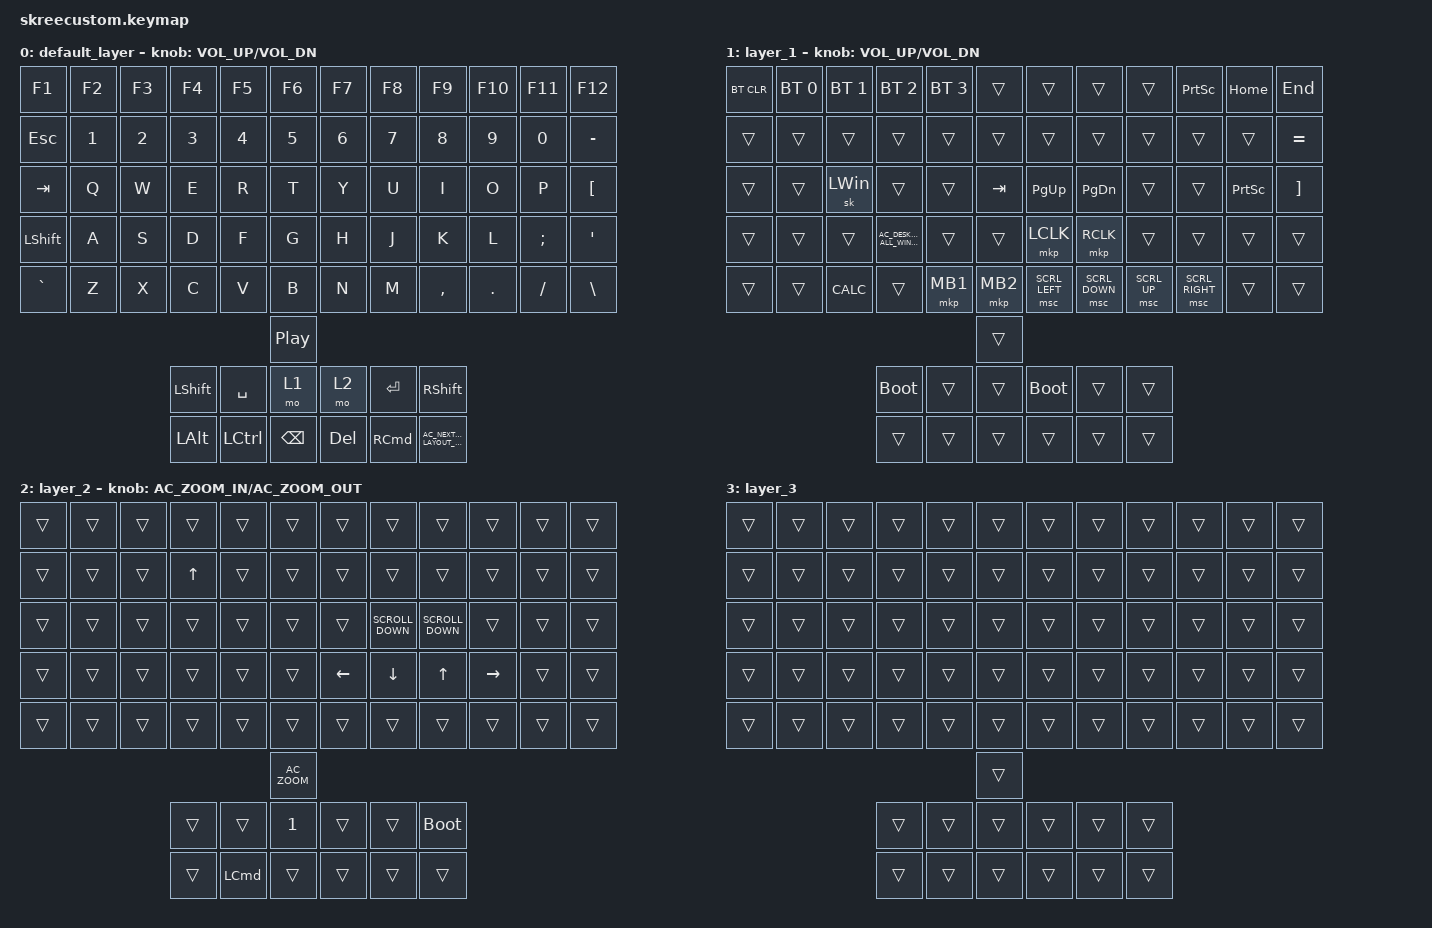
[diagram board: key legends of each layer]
/*
 * Copyright (c) 2020 The ZMK Contributors
 *
 * SPDX-License-Identifier: MIT
 */

#include <input/processors.dtsi>
#include <dt-bindings/zmk/input_transform.h>
#include <behaviors.dtsi>
#include <dt-bindings/zmk/bt.h>
#include <dt-bindings/zmk/keys.h>
#include <dt-bindings/zmk/pointing.h>

/ {
    combos {
        compatible = "zmk,combos";

        Sel_Bluetooth_Profile_Next {
            bindings = <&bt BT_NXT>;
            key-positions = <36 53 54>;
        };
    };

    keymap {
        compatible = "zmk,keymap";

        default_layer {
            bindings = <
&kp F1     &kp F2  &kp F3  &kp F4     &kp F5            &kp F6              &kp F7   &kp F8             &kp F9         &kp F10  &kp F11   &kp F12
&kp ESC    &kp N1  &kp N2  &kp N3     &kp N4            &kp N5              &kp N6   &kp N7             &kp N8         &kp N9   &kp N0    &kp MINUS
&kp TAB    &kp Q   &kp W   &kp E      &kp R             &kp T               &kp Y    &kp U              &kp I          &kp O    &kp P     &kp LBKT
&kp LSHFT  &kp A   &kp S   &kp D      &kp F             &kp G               &kp H    &kp J              &kp K          &kp L    &kp SEMI  &kp SQT
&kp GRAVE  &kp Z   &kp X   &kp C      &kp V             &kp B               &kp N    &kp M              &kp COMMA      &kp DOT  &kp FSLH  &kp BSLH
                                                        &kp C_PLAY_PAUSE
                           &kp LSHFT  &kp SPACE         &mo 1               &mo 2    &kp RET            &kp RSHFT
                           &kp LALT   &kp LEFT_CONTROL  &kp BACKSPACE       &kp DEL  &kp RIGHT_COMMAND  &kp C_AC_NEXT_KEYBOARD_LAYOUT_SELECT
            >;

            sensor-bindings = <&inc_dec_kp C_VOL_UP C_VOL_DN>;
        };

        layer_1 {
            bindings = <
&bt BT_CLR  &bt BT_SEL 0  &bt BT_SEL 1  &bt BT_SEL 2                       &bt BT_SEL 3  &trans      &trans          &trans          &trans         &kp PRINTSCREEN  &kp HOME         &kp END
&trans      &trans        &trans        &trans                             &trans        &trans      &trans          &trans          &trans         &trans           &trans           &kp EQUAL
&trans      &trans        &sk LWIN      &trans                             &trans        &kp TAB     &kp PAGE_UP     &kp PAGE_DOWN   &trans         &trans           &kp PRINTSCREEN  &kp RIGHT_BRACKET
&trans      &trans        &trans        &kp C_AC_DESKTOP_SHOW_ALL_WINDOWS  &trans        &trans      &mkp LCLK       &mkp RCLK       &trans         &trans           &trans           &trans
&trans      &trans        &kp K_CALC    &trans                             &mkp MB1      &mkp MB2    &msc SCRL_LEFT  &msc SCRL_DOWN  &msc SCRL_UP   &msc SCRL_RIGHT  &trans           &trans
                                                                                         &trans
                                        &bootloader                        &trans        &trans      &bootloader     &trans          &trans
                                        &trans                             &trans        &trans      &trans          &trans          &trans
            >;

            sensor-bindings = <&inc_dec_kp C_VOL_UP C_VOL_DN>;
        };

        layer_2 {
            bindings = <
&trans  &trans  &trans  &trans        &trans  &trans           &trans    &trans             &trans             &trans     &trans  &trans
&trans  &trans  &trans  &kp UP_ARROW  &trans  &trans           &trans    &trans             &trans             &trans     &trans  &trans
&trans  &trans  &trans  &trans        &trans  &trans           &trans    &kp K_SCROLL_DOWN  &kp K_SCROLL_DOWN  &trans     &trans  &trans
&trans  &trans  &trans  &trans        &trans  &trans           &kp LEFT  &kp DOWN           &kp UP_ARROW       &kp RIGHT  &trans  &trans
&trans  &trans  &trans  &trans        &trans  &trans           &trans    &trans             &trans             &trans     &trans  &trans
                                              &kp C_AC_ZOOM
                        &trans        &trans  &kp N1           &trans    &trans             &bootloader
                        &trans        &kp LCMD &trans          &trans    &trans             &trans
            >;

            sensor-bindings = <&inc_dec_kp C_AC_ZOOM_IN C_AC_ZOOM_OUT>;
        };

        layer_3 {
            bindings = <
&trans  &trans  &trans  &trans  &trans  &trans    &trans  &trans  &trans  &trans  &trans  &trans
&trans  &trans  &trans  &trans  &trans  &trans    &trans  &trans  &trans  &trans  &trans  &trans
&trans  &trans  &trans  &trans  &trans  &trans    &trans  &trans  &trans  &trans  &trans  &trans
&trans  &trans  &trans  &trans  &trans  &trans    &trans  &trans  &trans  &trans  &trans  &trans
&trans  &trans  &trans  &trans  &trans  &trans    &trans  &trans  &trans  &trans  &trans  &trans
                                        &trans
                        &trans  &trans  &trans    &trans  &trans  &trans
                        &trans  &trans  &trans    &trans  &trans  &trans
            >;
        };
    };
};

// //right hand trackball overrides
// &trackball_peripheral_listener {
//     input-processors =
//         <&zip_xy_transform INPUT_TRANSFORM_XY_SWAP>,//this gets it to the default installation orientation
//         <&zip_temp_layer 3 500>;//activate layer 3 within 500ms of the trackball moving
// };
// //left hand trackball overrides
// &trackball_central_listener {
//     input-processors = 
//         <&zip_xy_transform INPUT_TRANSFORM_XY_SWAP>,//this gets it to the default installation orientation
//         <&zip_xy_scaler 1 3>,//multiply sensitivity by 1, divide by 3 (make it slower for scrolling)
//         <&zip_xy_to_scroll_mapper>,//make this trackball output scrolling events by default instead of cursor movement
//         <&zip_scroll_transform INPUT_TRANSFORM_Y_INVERT>;//invert vertical scrolling so that the view moves in the same direction as the top of the trackball.
// };
